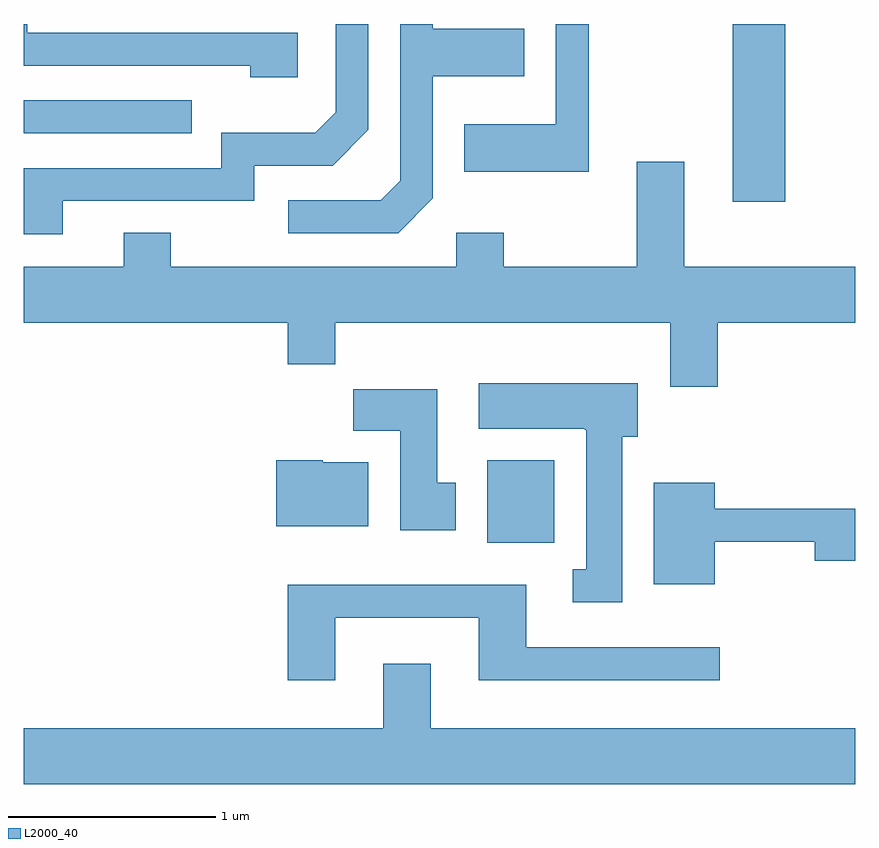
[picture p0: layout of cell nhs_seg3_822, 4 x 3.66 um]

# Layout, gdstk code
import gdstk
lib = gdstk.Library(unit=1e-6, precision=1e-09)
def R(c, l, rs):  # rectangles x0, y0, x1, y1
    for r in rs: c.add(gdstk.rectangle(r[:2], r[2:], *l))
def P(c, l, *ps):  # polygons
    for p in ps: c.add(gdstk.Polygon(p, *l))
L2000_40 = (2000, 40)

nhs_seg3_822 = lib.new_cell('nhs_seg3_822')
R(nhs_seg3_822, L2000_40, [(211.841,1129.396,212.164,1129.794), (213.021,1131.036,213.274,1131.892), (209.611,1131.366,210.418,1131.524)])
P(nhs_seg3_822, L2000_40, [(210.929,1131.849),(209.629,1131.849),(209.629,1131.892),(209.611,1131.892),(209.611,1131.691),(210.701,1131.691),(210.701,1131.636),(210.929,1131.636)],
  [(212.329,1131.892),(212.171,1131.892),(212.171,1131.409),(211.731,1131.409),(211.731,1131.181),(212.329,1131.181)],
  [(209.799,1131.041),(210.719,1131.041),(210.719,1131.211),(211.097,1131.211),(211.269,1131.384),(211.269,1131.892),(211.111,1131.892),(211.111,1131.467),(211.014,1131.369),(210.561,1131.369),(210.561,1131.199),(209.611,1131.199),(209.611,1130.881),(209.799,1130.881)],
  [(211.579,1131.054),(211.579,1131.641),(212.019,1131.641),(212.019,1131.869),(211.579,1131.869),(211.579,1131.892),(211.421,1131.892),(211.421,1131.137),(211.329,1131.044),(210.883,1131.044),(210.883,1130.886),(211.412,1130.886)],
  [(212.949,1130.456),(213.611,1130.456),(213.611,1130.724),(212.789,1130.724),(212.789,1131.229),(212.561,1131.229),(212.561,1130.724),(211.919,1130.724),(211.919,1130.889),(211.691,1130.889),(211.691,1130.724),(210.319,1130.724),(210.319,1130.889),(210.091,1130.889),(210.091,1130.724),(209.611,1130.724),(209.611,1130.456),(210.881,1130.456),(210.881,1130.256),(211.109,1130.256),(211.109,1130.456),(212.721,1130.456),(212.721,1130.146),(212.949,1130.146)],
  [(212.489,1129.906),(212.564,1129.906),(212.564,1130.164),(211.801,1130.164),(211.801,1129.946),(212.31,1129.946),(212.31,1129.94),(212.316,1129.94),(212.316,1129.269),(212.253,1129.269),(212.253,1129.111),(212.489,1129.111)],
  [(211.689,1129.684),(211.599,1129.684),(211.599,1130.134),(211.196,1130.134),(211.196,1129.936),(211.421,1129.936),(211.421,1129.456),(211.689,1129.456)],
  [(211.269,1129.784),(211.05,1129.784),(211.05,1129.794),(210.826,1129.794),(210.826,1129.476),(211.269,1129.476)],
  [(212.934,1129.401),(213.416,1129.401),(213.416,1129.311),(213.611,1129.311),(213.611,1129.559),(212.934,1129.559),(212.934,1129.684),(212.641,1129.684),(212.641,1129.196),(212.934,1129.196)],
  [(211.109,1129.036),(211.801,1129.036),(211.801,1128.736),(212.958,1128.736),(212.958,1128.894),(212.029,1128.894),(212.029,1129.194),(210.881,1129.194),(210.881,1128.736),(211.109,1128.736)],
  [(213.611,1128.504),(211.569,1128.504),(211.569,1128.814),(211.341,1128.814),(211.341,1128.504),(209.611,1128.504),(209.611,1128.236),(213.611,1128.236)])

lib.write_gds('nhs_seg3_822.gds')
